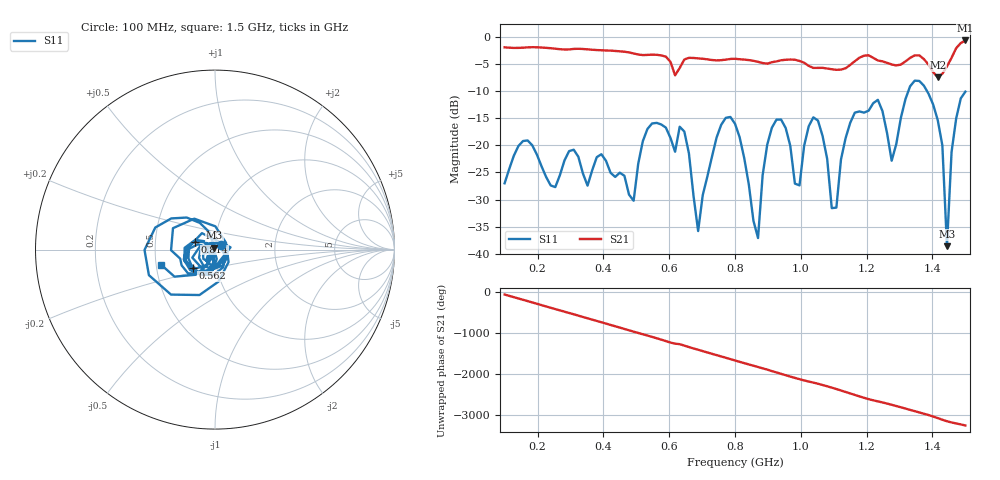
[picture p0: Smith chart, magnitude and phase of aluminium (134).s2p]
! NanoVNA-App
! Date: 2025-09-25 14:56:19
! Start: 100MHz Stop: 1,5GHz Points: 101
! S-Parameter data: F S11 S21 S12 S22
# Hz S RI R 50
!  Frequency  S11_Real  S11_Imag  S21_Real  S21_Imag  S12_Real  S12_Imag  S22_Real  S22_Imag
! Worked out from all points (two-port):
!   101 points, 100 MHz to 1.5 GHz, reference 50 ohm
!   highest |S21| = -0.65 dB at 1.5 GHz (marker M1); lowest = -7.5 dB at 1.416 GHz (marker M2)
!   |S21| within 3 dB of the highest: start of sweep to 590.2 MHz; 1.46 GHz to end of sweep (the widest 2 of 4)
!   lowest |S11| = -38.6 dB at 1.444 GHz (marker M3), VSWR 1.02, Z = 49.6 + j1.09 ohm
!   |S11| at or under -10 dB: start of sweep to 1.327 GHz; 1.383 GHz to end of sweep
!   S12 and S22 are empty: the file has one direction only
!   S11 on the Smith chart (normalised r, x): 100 MHz: 1.07, +0.06; 562 MHz: 0.76, -0.16; 814 MHz: 0.80, +0.07; 1.5 GHz: 0.53, -0.10
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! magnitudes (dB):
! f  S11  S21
! 100 MHz  -27.0  -1.9
! 338 MHz  -25.2  -2.2
! 492 MHz  -30.2  -3.1
! 562 MHz  -15.9  -3.3
! 576 MHz  -16.2  -3.4
! 646 MHz  -17.4  -4.2
! 688 MHz  -35.8  -4.0
! 800 MHz  -16.0  -4.0
! 814 MHz  -18.5  -4.1
! 870 MHz  -37.1  -4.6
! 912 MHz  -16.7  -4.7
! 996 MHz  -27.4  -4.4
! 1.038 GHz  -14.8  -5.7
! 1.094 GHz  -31.6  -6.0
! 1.164 GHz  -14.0  -4.5
! 1.234 GHz  -11.6  -4.3
! 1.276 GHz  -22.8  -5.1
! 1.346 GHz  -8.1  -3.4
! 1.416 GHz  -15.3  -7.5
! 1.444 GHz  -38.6  -5.4
! 1.458 GHz  -21.2  -3.8
! 1.5 GHz  -10.1  -0.7
